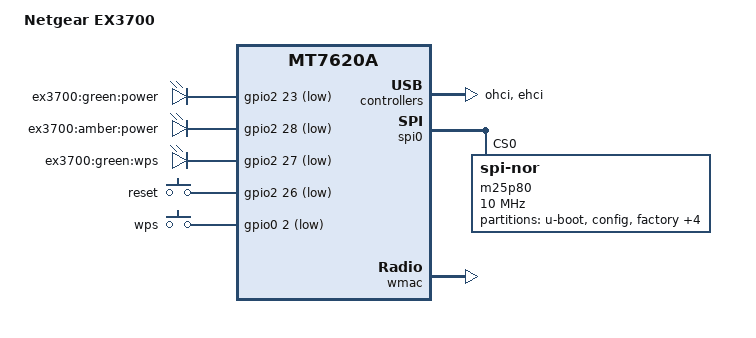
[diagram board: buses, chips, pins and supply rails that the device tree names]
/* This file is released into the public domain */

/dts-v1/;

#include "mt7620a.dtsi"

#include <dt-bindings/input/input.h>
#include <dt-bindings/gpio/gpio.h>

/ {
	compatible = "ralink,mt7620a-soc";
	model = "Netgear EX3700";

	chosen {
		/*bootargs = "console=ttyS0,57600"*/
		bootargs = "console=ttyS0,57600 loglevel=7 netconsole=6665@192.168.1.1/eth0,6666@192.168.1.2/";
	};

	gpio-leds {
		compatible = "gpio-leds";

		power_g {
			label = "ex3700:green:power";
			gpios = <&gpio2 23 GPIO_ACTIVE_LOW>;
			default-state = "on";
		};

		power_a {
			label = "ex3700:amber:power";
			gpios = <&gpio2 28 GPIO_ACTIVE_LOW>;
		};

		wps {
			label = "ex3700:green:wps";
			gpios = <&gpio2 27 GPIO_ACTIVE_LOW>;
		};
	};

	gpio-keys-polled {
		compatible = "gpio-keys-polled";
		#address-cells = <1>;
		#size-cells = <0>;
		poll-interval = <20>;

		reset {
			label = "reset";
			gpios = <&gpio2 26 GPIO_ACTIVE_LOW>;
			linux,code = <KEY_RESTART>;
		};

		wps {
			label = "wps";
			gpios = <&gpio0 2 GPIO_ACTIVE_LOW>;
			linux,code = <KEY_WPS_BUTTON>;
		};
	};
};

&gpio1 {
	status = "okay";
};

&gpio2 {
	status = "okay";
};

&ohci {
	status = "okay";
};

&ehci {
	status = "okay";
};

&spi0 {
	status = "okay";

	m25p80@0 {
		#address-cells = <1>;
		#size-cells = <1>;
		compatible = "jedec,spi-nor";
		reg = <0>;
		spi-max-frequency = <10000000>;

		partition@0 {
			label = "u-boot";
			reg = <0x0 0x30000>;
			read-only;
		};

		partition@30000 {
			label = "config";
			reg = <0x30000 0x10000>;
			read-only;
		};

		factory: partition@40000 {
			label = "factory";
			reg = <0x40000 0x10000>;
			read-only;
		};

/*
		partition@50000 {
			label = "firmware";
			reg = <0x50000 0x790000>;
		};
*/
		partition@50000 {
			label = "firmware";
			reg = <0x50000 0x680000>;
		};

		partition@6d0000 {
			label = "stuff";
			reg = <0x6d0000 0x110000>;
			read-only;
		};

		partition@7e0000 {
			label = "board_data";
			reg = <0x7e0000 0x10000>;
			read-only;
		};

		partition@7f0000 {
			label = "nvram";
			reg = <0x7f0000 0x10000>;
			read-only;
		};
	};
};

/*
&pcie {
	status = "okay";

	pcie0 {
		wifi@14c3,7662 {
			compatible = "pci14c3,7662";
			reg = <0x0000 0 0 0 0 >;
			mediatek,mtd-eeprom = <&factory 0x8000>;
			mtd-mac-address = <&factory 0x8004>;
			ieee80211-freq-limit = <5000000 6000000>;
		};
	};
};
*/

&ethernet {
	mtd-mac-address = <&factory 0x28>;
};

&wmac {
	ralink,mtd-eeprom = <&factory 0x0>;
	mtd-mac-address = <&factory 0x4>;
};

&pinctrl {
	state_default: pinctrl0 {
		default {
			ralink,group = "i2c", "rgmii2", "wled";
			ralink,function = "gpio";
		};
	};
};

